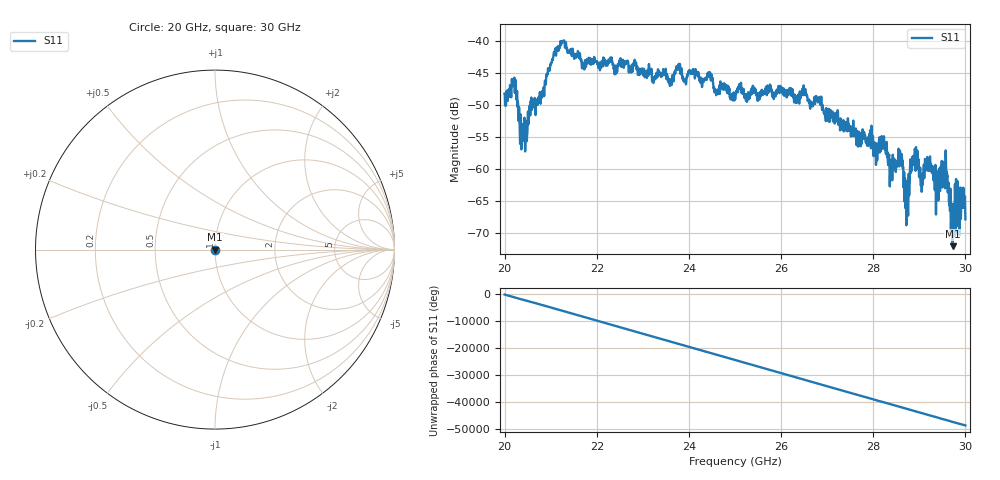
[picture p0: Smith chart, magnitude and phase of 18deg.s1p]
#  HZ  S  RI  R  50.00
! Rohde & Schwarz ZVA40 4Ports - Version 3.90 - 1145.1110k42 SN: 100403
! Date: 2023-10-03 10:27:26
! Measurement: S12
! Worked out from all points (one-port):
!   5001 points, 20 GHz to 30 GHz, reference 50 ohm
!   lowest |S11| = -72.1 dB at 29.72 GHz (marker M1), VSWR 1.00, Z = 50 - j0.0239 ohm
!   |S11| at or under -10 dB: start of sweep to end of sweep
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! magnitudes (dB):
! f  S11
! 20 GHz  -48.2
! 20.2 GHz  -46.3
! 20.34 GHz  -52.4
! 20.45 GHz  -56.0
! 20.58 GHz  -48.9
! 20.82 GHz  -47.8
! 21.25 GHz  -40.2
! 21.72 GHz  -43.9
! 22.5 GHz  -43.6
! 23.58 GHz  -46.8
! 23.75 GHz  -44.0
! 25 GHz  -48.5
! 26.25 GHz  -47.5
! 26.79 GHz  -49.3
! 27.5 GHz  -53.4
! 28.22 GHz  -56.4
! 28.37 GHz  -61.1
! 28.59 GHz  -57.6
! 28.71 GHz  -64.6
! 28.75 GHz  -66.2
! 28.88 GHz  -58.3
! 29.04 GHz  -62.5
! 29.2 GHz  -59.2
! 29.4 GHz  -61.5
! 29.53 GHz  -61.5
! 29.72 GHz  -72.1
! 29.82 GHz  -66.4
! 30 GHz  -67.9
